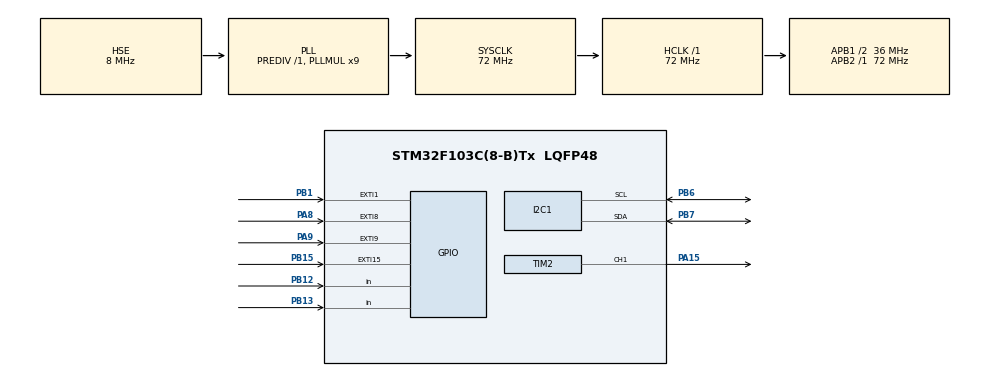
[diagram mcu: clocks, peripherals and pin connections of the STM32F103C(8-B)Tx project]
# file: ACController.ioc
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I2C1.I2C_Mode=I2C_Fast
Mcu.Family=STM32F1
Mcu.Name=STM32F103C(8-B)Tx
Mcu.Package=LQFP48
NVIC.EXTI15_10_IRQn=true\:0\:0\:false\:false\:true\:true\:true\:true
NVIC.EXTI1_IRQn=true\:0\:0\:false\:false\:true\:true\:true\:true
NVIC.EXTI9_5_IRQn=true\:0\:0\:false\:false\:true\:true\:true\:true
NVIC.PriorityGroup=NVIC_PRIORITYGROUP_4
PA13.Mode=Trace_Asynchronous_SW
PA13.Signal=SYS_JTMS-SWDIO
PA14.Mode=Trace_Asynchronous_SW
PA14.Signal=SYS_JTCK-SWCLK
PA15.Signal=S_TIM2_CH1_ETR
PA8.GPIO_ModeDefaultEXTI=GPIO_MODE_IT_RISING_FALLING
PA8.Signal=GPXTI8
PA9.GPIO_ModeDefaultEXTI=GPIO_MODE_IT_RISING_FALLING
PA9.Signal=GPXTI9
PB1.GPIO_ModeDefaultEXTI=GPIO_MODE_IT_FALLING
PB1.Signal=GPXTI1
PB12.Signal=GPIO_Input
PB13.GPIO_PuPd=GPIO_PULLUP
PB13.Signal=GPIO_Input
PB15.GPIO_ModeDefaultEXTI=GPIO_MODE_IT_RISING_FALLING
PB15.GPIO_PuPd=GPIO_PULLUP
PB15.Signal=GPXTI15
PB3.Mode=Trace_Asynchronous_SW
PB3.Signal=SYS_JTDO-TRACESWO
PB6.Mode=I2C
PB6.Signal=I2C1_SCL
PB7.Mode=I2C
PB7.Signal=I2C1_SDA
PD0-OSC_IN.Mode=HSE-External-Oscillator
PD0-OSC_IN.Signal=RCC_OSC_IN
PD1-OSC_OUT.Mode=HSE-External-Oscillator
PD1-OSC_OUT.Signal=RCC_OSC_OUT
ProjectManager.HeapSize=0x200
ProjectManager.StackSize=0x400
ProjectManager.TargetToolchain=STM32CubeIDE
RCC.AHBFreq_Value=72000000
RCC.APB1CLKDivider=RCC_HCLK_DIV2
RCC.APB1Freq_Value=36000000
RCC.APB1TimFreq_Value=72000000
RCC.APB2Freq_Value=72000000
RCC.APB2TimFreq_Value=72000000
RCC.HCLKFreq_Value=72000000
RCC.PLLMUL=RCC_PLL_MUL9
RCC.PLLSourceVirtual=RCC_PLLSOURCE_HSE
RCC.SYSCLKFreq_VALUE=72000000
RCC.SYSCLKSource=RCC_SYSCLKSOURCE_PLLCLK
RCC.USBFreq_Value=72000000
SH.S_TIM2_CH1_ETR.0=TIM2_CH1,PWM Generation1 CH1
TIM2.Channel-PWM\ Generation1\ CH1=TIM_CHANNEL_1
TIM2.Period=72000000 / 38000 - 1
board=custom

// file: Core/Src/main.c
/* USER CODE BEGIN Header */
/**
  ******************************************************************************
  * @file           : main.c
  * @brief          : Main program body
  ******************************************************************************
  * @attention
  *
  * Copyright (c) 2023 STMicroelectronics.
  * All rights reserved.
  *
  * This software is licensed under terms that can be found in the LICENSE file
  * in the root directory of this software component.
  * If no LICENSE file comes with this software, it is provided AS-IS.
  *
  ******************************************************************************
  */
/* USER CODE END Header */
#include "main.h"
#include "i2c.h"
#include "tim.h"
#include "gpio.h"

/* USER CODE BEGIN Includes */
#include <stdio.h>
#include "aht20.h"
#include "hpt.h"
#include "oled.h"
#include "binary_push_key.h"
#include "pushable_dial.h"

/* USER CODE END Includes */

/* USER CODE BEGIN PD */
#define CMD_INTERVAL 60 * 1000
#define HT_INTERVAL 1500
#define HT_READ_DELAY 80
/* USER CODE END PD */

void SystemClock_Config(void);

/* USER CODE BEGIN 0 */
uint32_t cmdOn[] = { 0x9000000A, 0x0004000A };
uint32_t cmdOff[] = { 0x8000000A, 0x0004000B };

uint32_t cmd[2];
uint32_t cmdSegIdx = 0;
uint32_t segBitIdx = 0;

uint64_t lastBitReceivedUs = 0;

uint32_t lastHTMeasureMs = -HT_INTERVAL;
uint32_t lastHTReadMeasureMs = -HT_INTERVAL;

uint32_t lastCmdSentMs = -CMD_INTERVAL;

float tempLower = 26.5;
float tempUpper = 27.5;

BinaryPushKey keys[];
PushableDial dial;

void HAL_GPIO_EXTI_Callback(uint16_t GPIO_Pin)
{
  if(GPIO_Pin == GPIO_PIN_1)
  {
    uint64_t currentUs = HPT_GetUs();
    uint64_t deltaUs = HPT_DeltaUs(lastBitReceivedUs, currentUs);
    lastBitReceivedUs = currentUs;
    if (deltaUs > 4000)
    {
      // beginning of the transmit
      segBitIdx = 0;
      cmdSegIdx++;
      if (cmdSegIdx == 2) {
        cmdSegIdx = 0;
        cmd[0] = 0;
        cmd[1] = 0;
      }
    }
    else if (deltaUs > 1700)
    {
      // bit-1
      if (segBitIdx < 32) {
        segBitIdx++;
        cmd[cmdSegIdx] |= (1UL << (32 - segBitIdx));   // write 1
      }

    }
    else if (deltaUs > 1000)
    {
      // bit-0
      if (segBitIdx < 32) {
        segBitIdx++;
        cmd[cmdSegIdx] &= ~(1UL << (32 - segBitIdx));   // write 0
      }
    }
    if (cmdSegIdx == 1 && segBitIdx == 32) {
      cmdSegIdx = 0;
      segBitIdx = 0;
    }
  }
  if (GPIO_Pin == GPIO_PIN_8 || GPIO_Pin == GPIO_PIN_9 || GPIO_Pin == GPIO_PIN_15) {
    PushableDial_Scan(&dial);
  }
}

void setACCmdLevel(uint8_t level) {
  if (level) {
    htim2.Instance->CCR1 = htim2.Instance->ARR / 2;
  }
  else {
    // htim2.Instance->CCR1 = htim2.Instance->ARR + 1;
    htim2.Instance->CCR1 = 0;
  }
}

void sendACCmdBit(uint8_t bit) {
  if (bit) {
    setACCmdLevel(1);
    HPT_DelayUs(680);
    setACCmdLevel(0);
    HPT_DelayUs(1530);
  }
  else {
    setACCmdLevel(1);
    HPT_DelayUs(680);
    setACCmdLevel(0);
    HPT_DelayUs(510);
  }
}

void sendACCmd(uint32_t cmd[2]) {

  // start
  setACCmdLevel(1);
  HPT_DelayUs(9010);
  setACCmdLevel(0);
  HPT_DelayUs(4505);

  // seg 1
  for (int i=0; i<32; i++) {
    sendACCmdBit(cmd[0] >> (32 - 1 - i) & 0b1);
  }

  sendACCmdBit(0);
  sendACCmdBit(1);
  sendACCmdBit(0);

  // inter
  setACCmdLevel(1);
  HPT_DelayUs(510);
  setACCmdLevel(0);
  HPT_DelayUs(19975);

  // seg 2
  for (int i=0; i<32; i++) {
    sendACCmdBit(cmd[1] >> (32 - 1 - i) & 0b1);
  }

  // end
  setACCmdLevel(1);
  HPT_DelayUs(510);
  setACCmdLevel(0);
  HPT_DelayUs(19975);
  HPT_DelayUs(19975);

  // reset
  setACCmdLevel(0);
}

uint8_t OnKey1StateChanged(struct BinaryPushKey *sender, BinaryPushKeyState state) {
  if (state == PushKeyPressed) {
    sendACCmd(cmdOn);

    uint32_t currentMs = HPT_GetMs();
    lastCmdSentMs = currentMs;
  }
  return 1;
}

uint8_t OnKey2StateChanged(struct BinaryPushKey *sender, BinaryPushKeyState state) {
  if (state == PushKeyPressed) {
    sendACCmd(cmdOff);

    uint32_t currentMs = HPT_GetMs();
    lastCmdSentMs = currentMs;
  }
  return 1;
}

BinaryPushKey keys[] = {
  {
    .Key = &(Key){ },
    .Pin = &(GPIO_Pin){
      .GPIOx = GPIOB,
      .GPIO_Pin = GPIO_PIN_12
    },
    .ReleasedLevel = GPIO_PIN_SET,
    .OnStateChanged = OnKey1StateChanged
  },
  {
    .Key = &(Key){ },
    .Pin = &(GPIO_Pin){
      .GPIOx = GPIOB,
      .GPIO_Pin = GPIO_PIN_13
    },
    .ReleasedLevel = GPIO_PIN_SET,
    .OnStateChanged = OnKey2StateChanged
  },
};

uint8_t OnPressedDialTicked(struct PushableDial *sender, int8_t direction) {
  if (tempUpper - tempLower > 0.2 || direction < 0) {
    float delta = direction > 0 ? 0.1 : -0.1;
    tempLower += delta;
    tempUpper -= delta;
  }
}

uint8_t OnReleasedDialTicked(struct PushableDial *sender, int8_t direction) {
  float delta = direction > 0 ? 0.1 : -0.1;
  tempLower -= delta;
  tempUpper -= delta;
}

uint8_t OnPushKeyStateChanged(struct PushableDial *sender, BinaryPushKeyState state, uint8_t isDialTicked) {

}

PushableDial dial = {
  .PressedDial = &(Dial) {
    .Encoder = &(Encoder) {
      .OffLevel = GPIO_PIN_SET,
      .PinA = &(GPIO_Pin) {
        .GPIOx = GPIOA,
        .GPIO_Pin = GPIO_PIN_8
      },
      .PinB = &(GPIO_Pin) {
        .GPIOx = GPIOA,
        .GPIO_Pin = GPIO_PIN_9
      },
    },
    .TickInterval = 3
  },
  .ReleasedDial = &(Dial) {
    .Encoder = &(Encoder) {
      .OffLevel = GPIO_PIN_SET,
      .PinA = &(GPIO_Pin) {
        .GPIOx = GPIOA,
        .GPIO_Pin = GPIO_PIN_8
      },
      .PinB = &(GPIO_Pin) {
        .GPIOx = GPIOA,
        .GPIO_Pin = GPIO_PIN_9
      },
    },
    .TickInterval = 3
  },
  .PushKey = &(BinaryPushKey){
    .Key = &(Key){ },
    .Pin = &(GPIO_Pin){
      .GPIOx = GPIOB,
      .GPIO_Pin = GPIO_PIN_15
    },
    .ReleasedLevel = GPIO_PIN_SET
  },
  .OnPressedDialTicked = OnPressedDialTicked,
  .OnReleasedDialTicked = OnReleasedDialTicked,
  .OnPushKeyStateChanged = OnPushKeyStateChanged
};

/* USER CODE END 0 */

int main(void)
{

  /* MCU Configuration--------------------------------------------------------*/

  /* Reset of all peripherals, Initializes the Flash interface and the Systick. */
  HAL_Init();

  /* Configure the system clock */
  SystemClock_Config();

  /* Initialize all configured peripherals */
  MX_GPIO_Init();
  MX_I2C1_Init();
  MX_TIM2_Init();
  /* USER CODE BEGIN 2 */

  HAL_Delay(100);

  AHT20_Init();

  OLED_Init();
  OLED_PlotString(0, 16, "Loading...", OLED_FONT_1608, OLED_PLOTTING_FILL, OLED_BACKGROUND_FILL);
  OLED_Flush();

  setACCmdLevel(0);
  HAL_TIM_PWM_Start(&htim2, TIM_CHANNEL_1);

  HAL_Delay(3000);

  /* USER CODE END 2 */

  /* Infinite loop */
  /* USER CODE BEGIN WHILE */
  float humidity = 0.0, temperature = 0.0;
  uint8_t hasHTReading = 0;
  char text_buf[50] = {0};
  uint8_t lastCmd = 0;

  for (int i = 0; i < sizeof(keys)/sizeof(BinaryPushKey); i++) {
    BinaryPushKey_Init(&keys[i]);
  }
  PushableDial_Init(&dial);

  while (1)
  {
    /* USER CODE END WHILE */

    /* USER CODE BEGIN 3 */

    for (int i = 0; i < sizeof(keys)/sizeof(BinaryPushKey); i++) {
      BinaryPushKey_Scan(&keys[i]);
    }

    uint32_t currentMs = HPT_GetMs();

    // HT
    if (HPT_DeltaMs(lastHTMeasureMs, currentMs) >= HT_INTERVAL) {
      AHT20_Measure();
      lastHTMeasureMs = currentMs;
    }

    if (lastHTReadMeasureMs != lastHTMeasureMs && HPT_DeltaMs(lastHTMeasureMs, currentMs) >= HT_READ_DELAY) {
      AHT20_Read(&temperature, &humidity);
      lastHTReadMeasureMs = lastHTMeasureMs;
      hasHTReading = 1;
    }

    // command
    uint32_t cmdSentDeltaMs = HPT_DeltaMs(lastCmdSentMs, currentMs);
    if (hasHTReading) {
      if (cmdSentDeltaMs >= CMD_INTERVAL) {
        if (temperature > tempUpper) {
          sendACCmd(cmdOn);
          lastCmdSentMs = currentMs;
          lastCmd = 1;
        }
        if (temperature < tempLower) {
          sendACCmd(cmdOff);
          lastCmdSentMs = currentMs;
          lastCmd = 0;
        }
      }
    }

    // canvas
    OLED_ClearBuffer();

    sprintf(text_buf, "L: %.1f", tempLower);
    OLED_PlotString(0, 8, text_buf, OLED_FONT_0806, OLED_PLOTTING_FILL, OLED_BACKGROUND_FILL);
    sprintf(text_buf, "U: %.1f", tempUpper);
    OLED_PlotString(64-8, 8, text_buf, OLED_FONT_0806, OLED_PLOTTING_FILL, OLED_BACKGROUND_FILL);

    sprintf(text_buf, "T: %.2f", temperature);
    OLED_PlotString(0, 16, text_buf, OLED_FONT_1608, OLED_PLOTTING_FILL, OLED_BACKGROUND_FILL);
    sprintf(text_buf, "H: %.2f", humidity);
    OLED_PlotString(64+8, 16+8, text_buf, OLED_FONT_0806, OLED_PLOTTING_FILL, OLED_BACKGROUND_FILL);

    if (lastCmd) {
      sprintf(text_buf, "L: On", cmdSentDeltaMs);
    } else {
      sprintf(text_buf, "L: Off", cmdSentDeltaMs);
    }
    OLED_PlotString(0, 40, text_buf, OLED_FONT_0806, OLED_PLOTTING_FILL, OLED_BACKGROUND_FILL);
    if (cmdSentDeltaMs >= CMD_INTERVAL) {
      sprintf(text_buf, "D: -----", cmdSentDeltaMs);
    } else {
      sprintf(text_buf, "D: %.5d", cmdSentDeltaMs);
    }
    OLED_PlotString(64, 40, text_buf, OLED_FONT_0806, OLED_PLOTTING_FILL, OLED_BACKGROUND_FILL);

    sprintf(text_buf, "C: %0.8X %0.8X", cmd[0], cmd[1]);
    OLED_PlotString(0, 56, text_buf, OLED_FONT_0806, OLED_PLOTTING_FILL, OLED_BACKGROUND_FILL);

    OLED_Flush();
  }
  /* USER CODE END 3 */
}

void SystemClock_Config(void)
{
  RCC_OscInitTypeDef RCC_OscInitStruct = {0};
  RCC_ClkInitTypeDef RCC_ClkInitStruct = {0};

  /** Initializes the RCC Oscillators according to the specified parameters
  * in the RCC_OscInitTypeDef structure.
  */
  RCC_OscInitStruct.OscillatorType = RCC_OSCILLATORTYPE_HSE;
  RCC_OscInitStruct.HSEState = RCC_HSE_ON;
  RCC_OscInitStruct.HSEPredivValue = RCC_HSE_PREDIV_DIV1;
  RCC_OscInitStruct.HSIState = RCC_HSI_ON;
  RCC_OscInitStruct.PLL.PLLState = RCC_PLL_ON;
  RCC_OscInitStruct.PLL.PLLSource = RCC_PLLSOURCE_HSE;
  RCC_OscInitStruct.PLL.PLLMUL = RCC_PLL_MUL9;
  if (HAL_RCC_OscConfig(&RCC_OscInitStruct) != HAL_OK)
  {
    Error_Handler();
  }

  /** Initializes the CPU, AHB and APB buses clocks
  */
  RCC_ClkInitStruct.ClockType = RCC_CLOCKTYPE_HCLK|RCC_CLOCKTYPE_SYSCLK
                              |RCC_CLOCKTYPE_PCLK1|RCC_CLOCKTYPE_PCLK2;
  RCC_ClkInitStruct.SYSCLKSource = RCC_SYSCLKSOURCE_PLLCLK;
  RCC_ClkInitStruct.AHBCLKDivider = RCC_SYSCLK_DIV1;
  RCC_ClkInitStruct.APB1CLKDivider = RCC_HCLK_DIV2;
  RCC_ClkInitStruct.APB2CLKDivider = RCC_HCLK_DIV1;

  if (HAL_RCC_ClockConfig(&RCC_ClkInitStruct, FLASH_LATENCY_2) != HAL_OK)
  {
    Error_Handler();
  }
}

void Error_Handler(void)
{
  __disable_irq();
  while (1)
  {
  }
}
